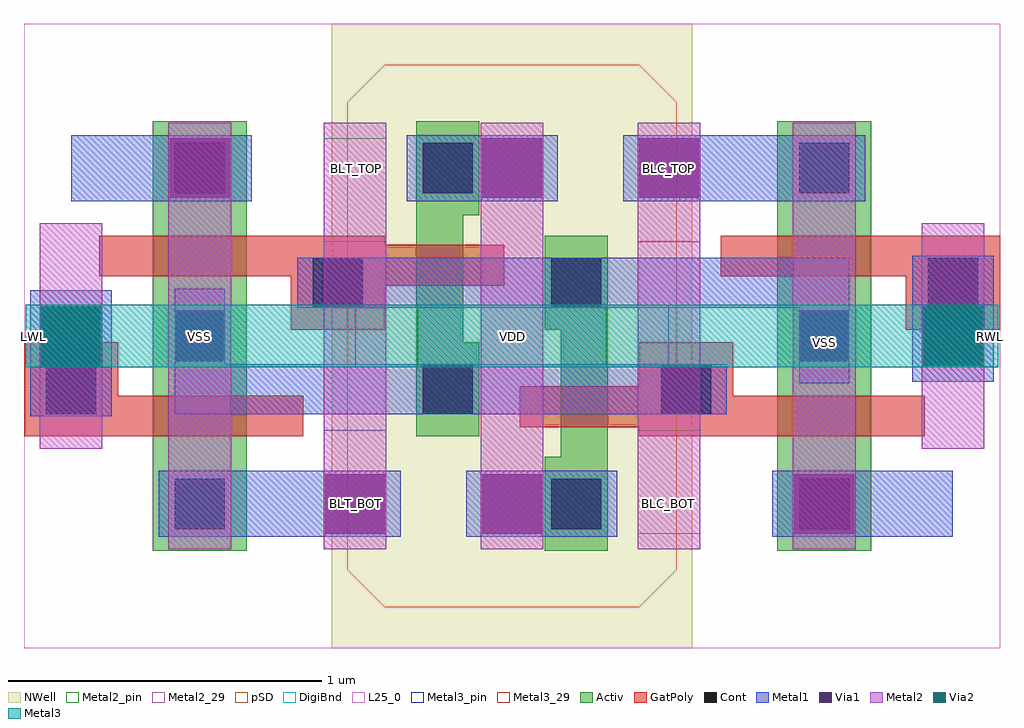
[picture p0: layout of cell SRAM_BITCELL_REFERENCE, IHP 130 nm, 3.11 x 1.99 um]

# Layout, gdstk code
from math import pi, radians
import gdstk
lib = gdstk.Library(unit=1e-6, precision=1e-09)
def R(c, l, rs):  # rectangles x0, y0, x1, y1
    for r in rs: c.add(gdstk.rectangle(r[:2], r[2:], *l))
def A(c, l, x, y, w, h, nx, ny, dx, dy):  # array of equal rectangles
    R(c, l, [(x+i*dx, y+j*dy, x+i*dx+w, y+j*dy+h) for i in range(nx) for j in range(ny)])
def P(c, l, *ps):  # polygons
    for p in ps: c.add(gdstk.Polygon(p, *l))
Activ = (1, 0)
GatPoly = (5, 0)
Cont = (6, 0)
Metal1 = (8, 0)
Metal2 = (10, 0)
Metal2_pin = (10, 2)
Metal2_29 = (10, 29)
pSD = (14, 0)
DigiBnd = (16, 0)
Via1 = (19, 0)
L25_0 = (25, 0)
Via2 = (29, 0)
Metal3 = (30, 0)
Metal3_pin = (30, 2)
Metal3_29 = (30, 29)
NWell = (31, 0)

lvsres_db_0x0283509a = lib.new_cell('lvsres_db_0x0283509a')
R(lvsres_db_0x0283509a, Metal2, [(-0.5,0,0.5,0.2)])
R(lvsres_db_0x0283509a, Metal2_pin, [(-0.5,0,-0.3,0.2), (0.3,0,0.5,0.2)])
R(lvsres_db_0x0283509a, Metal2_29, [(-0.3,0,0.3,0.2)])
lvsres_db_0x0283509a.add(gdstk.Label('MINUS', (0.4,0.1), layer=63, texttype=0))
lvsres_db_0x0283509a.add(gdstk.Label('PLUS', (-0.4,0.1), layer=63, texttype=0))

lvsres_db_0x02834b9a = lib.new_cell('lvsres_db_0x02834b9a')
R(lvsres_db_0x02834b9a, Metal3, [(-0.5,0,0.5,0.2)])
R(lvsres_db_0x02834b9a, Metal3_pin, [(-0.5,0,-0.3,0.2), (0.3,0,0.5,0.2)])
R(lvsres_db_0x02834b9a, Metal3_29, [(-0.3,0,0.3,0.2)])
lvsres_db_0x02834b9a.add(gdstk.Label('MINUS', (0.4,0.1), layer=63, texttype=0))
lvsres_db_0x02834b9a.add(gdstk.Label('PLUS', (-0.4,0.1), layer=63, texttype=0))

via_m1_activ_db_0x02835b = lib.new_cell('VIA_M1_Activ_db_0x02835b9b')
R(via_m1_activ_db_0x02835b, Activ, [(-0.15,-0.15,0.15,0.15)])
R(via_m1_activ_db_0x02835b, Cont, [(-0.08,-0.08,0.08,0.08)])
R(via_m1_activ_db_0x02835b, Metal1, [(-0.13,-0.08,0.13,0.08)])

m1_gatpoly_cdns_68613866 = lib.new_cell('M1_GatPoly_CDNS_6861386601448')
R(m1_gatpoly_cdns_68613866, GatPoly, [(-0.15,-0.15,0.15,0.15)])
R(m1_gatpoly_cdns_68613866, Cont, [(-0.08,-0.08,0.08,0.08)])
R(m1_gatpoly_cdns_68613866, Metal1, [(-0.13,-0.08,0.13,0.08)])

rm_ihpsg13_1p_bitkit_cel = lib.new_cell('RM_IHPSG13_1P_BITKIT_CELL_SUB')
R(rm_ihpsg13_1p_bitkit_cel, Activ, [(-1.145,-0.685,-0.845,0.15), (-0.305,-0.32,-0.105,-0.02), (-0.305,-0.21,-0.155,0.66), (-1.145,-0.15,-0.845,0.66), (-0.305,0.385,-0.105,0.685)])
R(rm_ihpsg13_1p_bitkit_cel, GatPoly, [(-1.315,-0.32,-0.665,-0.19), (-0.705,0.16,-0.37,0.29), (-0.445,0.16,-0.025,0.29), (-1.315,0.19,-0.625,0.32)])
R(rm_ihpsg13_1p_bitkit_cel, Cont, [(-0.285,-0.25,-0.125,-0.09), (-1.075,-0.08,-0.915,0.08), (-1.075,-0.08,-0.915,0.08), (-0.285,0.455,-0.125,0.615)])
R(rm_ihpsg13_1p_bitkit_cel, Metal1, [(-1.125,-0.64,-0.355,-0.43), (-1.535,-0.255,-1.275,0.145), (-1.075,-0.25,0,-0.09), (-0.285,-0.25,-0.125,-0.09), (-1.075,-0.15,-0.915,0.15), (-0.685,0.09,0,0.25), (-0.335,0.43,0.145,0.64)])
P(rm_ihpsg13_1p_bitkit_cel, pSD, [(-0.405,-0.865),(-0.525,-0.745),(-0.525,0.745),(-0.405,0.865),(0.12,0.865),(0.12,-0.865)])
R(rm_ihpsg13_1p_bitkit_cel, Via1, [(-0.595,-0.63,-0.405,-0.44), (-1.5,-0.095,-1.31,0.095), (-1.09,0.44,-0.9,0.63), (-0.095,0.44,0.095,0.63)])
R(rm_ihpsg13_1p_bitkit_cel, NWell, [(-0.575,-0.995,0.205,0.995)])
rm_ihpsg13_1p_bitkit_cel.add(gdstk.FlexPath([(-0.83,0.535),(-1.405,0.535)], 0.21, ends="flush", simple_path=True, layer=8, datatype=0))  # Metal1
rm_ihpsg13_1p_bitkit_cel.add(gdstk.FlexPath([(-1.405,-0.36),(-1.405,0.36)], 0.2, ends="flush", simple_path=True, layer=10, datatype=0))  # Metal2
rm_ihpsg13_1p_bitkit_cel.add(gdstk.FlexPath([(-0.995,-0.68),(-0.995,0.68)], 0.2, ends="flush", simple_path=True, layer=10, datatype=0))  # Metal2
rm_ihpsg13_1p_bitkit_cel.add(gdstk.FlexPath([(-0.5,-0.68),(-0.5,0.68)], 0.2, ends="flush", simple_path=True, layer=10, datatype=0))  # Metal2
rm_ihpsg13_1p_bitkit_cel.add(gdstk.FlexPath([(0,-0.68),(0,0.68)], 0.2, ends="flush", simple_path=True, layer=10, datatype=0))  # Metal2
rm_ihpsg13_1p_bitkit_cel.add(gdstk.Reference(via_m1_activ_db_0x02835b, (-0.995,-0.535), rotation=pi))
rm_ihpsg13_1p_bitkit_cel.add(gdstk.Reference(via_m1_activ_db_0x02835b, (-0.995,0.535)))
rm_ihpsg13_1p_bitkit_cel.add(gdstk.Reference(m1_gatpoly_cdns_68613866, (-1.405,-0.17)))
rm_ihpsg13_1p_bitkit_cel.add(gdstk.Reference(m1_gatpoly_cdns_68613866, (-0.555,0.17)))
rm_ihpsg13_1p_bitkit_cel.add(gdstk.Label('pmos', (-0.33,0.225), layer=63, texttype=0))
rm_ihpsg13_1p_bitkit_cel.add(gdstk.Label('nmos', (-0.995,0.255), layer=63, texttype=0))
rm_ihpsg13_1p_bitkit_cel.add(gdstk.Label('nmos', (-0.995,-0.255), layer=63, texttype=0))

sram_bitcell_reference = lib.new_cell('SRAM_BITCELL_REFERENCE')
A(sram_bitcell_reference, Metal2_pin, -1.095, -0.68, 0.2, 1.36, 3, 1, 0.995, 0)
R(sram_bitcell_reference, Metal2_pin, [(-0.6,-0.63,-0.4,-0.44), (0.4,-0.63,0.6,-0.44), (-0.6,0.44,-0.4,0.63), (0.4,0.44,0.6,0.63)])
R(sram_bitcell_reference, DigiBnd, [(-1.555,-0.995,1.555,0.995)])
R(sram_bitcell_reference, Via1, [(-1.5,-0.095,-1.31,0.095)])
R(sram_bitcell_reference, L25_0, [(-1.555,-0.995,1.555,0.995)])
R(sram_bitcell_reference, Via2, [(-1.5,-0.095,-1.31,0.095), (1.31,-0.095,1.5,0.095)])
R(sram_bitcell_reference, Metal3_pin, [(-1.55,-0.1,-1.5,0.1), (1.5,-0.1,1.55,0.1)])
sram_bitcell_reference.add(gdstk.FlexPath([(1.55,0),(-1.55,0)], 0.2, ends="flush", simple_path=True, layer=30, datatype=0))  # Metal3
sram_bitcell_reference.add(gdstk.Reference(lvsres_db_0x0283509a, (-0.4,0), rotation=pi/2))
sram_bitcell_reference.add(gdstk.Reference(lvsres_db_0x0283509a, (0.6,0), rotation=pi/2))
sram_bitcell_reference.add(gdstk.Reference(lvsres_db_0x02834b9a, (0,0.1), rotation=pi))
sram_bitcell_reference.add(gdstk.Reference(rm_ihpsg13_1p_bitkit_cel, (0,0), rotation=pi))
sram_bitcell_reference.add(gdstk.Reference(rm_ihpsg13_1p_bitkit_cel, (0,0)))
sram_bitcell_reference.add(gdstk.Label('BLT_TOP', (-0.5,0.535), layer=10, texttype=25))
sram_bitcell_reference.add(gdstk.Label('BLT_BOT', (-0.5,-0.535), layer=10, texttype=25))
sram_bitcell_reference.add(gdstk.Label('VSS', (0.995,-0.02), layer=10, texttype=25))
sram_bitcell_reference.add(gdstk.Label('VSS', (-0.995,0), layer=10, texttype=25))
sram_bitcell_reference.add(gdstk.Label('VDD', (0,0), layer=10, texttype=25))
sram_bitcell_reference.add(gdstk.Label('BLC_TOP', (0.5,0.535), layer=10, texttype=25))
sram_bitcell_reference.add(gdstk.Label('BLC_BOT', (0.5,-0.535), layer=10, texttype=25))
sram_bitcell_reference.add(gdstk.Label('RWL', (1.525,0), layer=30, texttype=25))
sram_bitcell_reference.add(gdstk.Label('LWL', (-1.525,0), layer=30, texttype=25))

lib.write_gds('SRAM_BITCELL_REFERENCE.gds')
